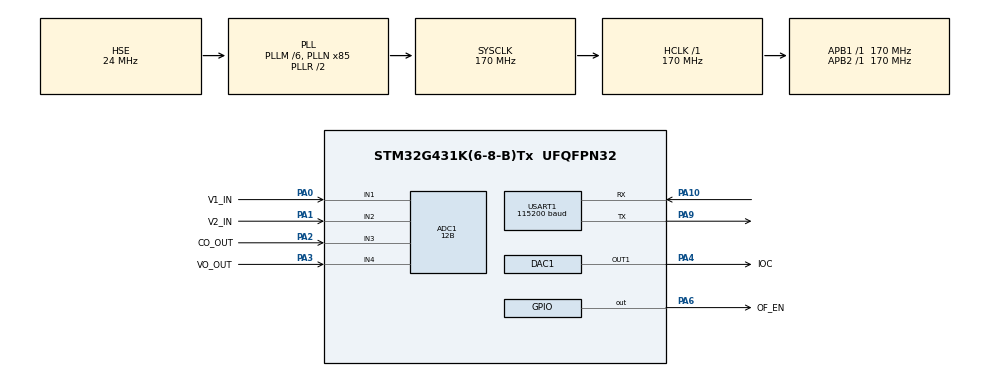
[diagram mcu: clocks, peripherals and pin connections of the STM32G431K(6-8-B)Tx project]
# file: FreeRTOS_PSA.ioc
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ADC1.Channel-0\#ChannelRegularConversion=ADC_CHANNEL_1
ADC1.Channel-1\#ChannelRegularConversion=ADC_CHANNEL_2
ADC1.Channel-2\#ChannelRegularConversion=ADC_CHANNEL_3
ADC1.Channel-3\#ChannelRegularConversion=ADC_CHANNEL_4
ADC1.Channel-4\#ChannelRegularConversion=ADC_CHANNEL_TEMPSENSOR_ADC1
ADC1.Channel-IN=ADC_CHANNEL_TEMPSENSOR_ADC1
ADC1.Channel-IN1=ADC_CHANNEL_1
ADC1.Channel-IN2=ADC_CHANNEL_2
ADC1.Channel-IN3=ADC_CHANNEL_3
ADC1.Channel-IN4=ADC_CHANNEL_4
ADC1.ClockPrescaler=ADC_CLOCK_ASYNC_DIV64
ADC1.ContinuousConvMode=ENABLE
ADC1.DMAContinuousRequests=ENABLE
ADC1.DataAlign=ADC_DATAALIGN_RIGHT
ADC1.DiscontinuousConvMode=DISABLE
ADC1.EOCSelection=ADC_EOC_SINGLE_CONV
ADC1.EnableAnalogWatchDog1=false
ADC1.EnableAnalogWatchDog2=false
ADC1.EnableAnalogWatchDog3=false
ADC1.EnableInjectedConversion=DISABLE
ADC1.EnableRegularConversion=ENABLE
ADC1.ExternalTrigConv=ADC_SOFTWARE_START
ADC1.ExternalTrigConvEdge=ADC_EXTERNALTRIGCONVEDGE_NONE
ADC1.GainCompensation=0
ADC1.LowPowerAutoWait=DISABLE
ADC1.Mode=ADC_MODE_INDEPENDENT
ADC1.NbrOfConversion=5
ADC1.OffsetNumber-0\#ChannelRegularConversion=ADC_OFFSET_NONE
ADC1.OffsetNumber-1\#ChannelRegularConversion=ADC_OFFSET_NONE
ADC1.OffsetNumber-2\#ChannelRegularConversion=ADC_OFFSET_NONE
ADC1.OffsetNumber-3\#ChannelRegularConversion=ADC_OFFSET_NONE
ADC1.OffsetNumber-4\#ChannelRegularConversion=ADC_OFFSET_NONE
ADC1.Overrun=ADC_OVR_DATA_PRESERVED
ADC1.OversamplingMode=DISABLE
ADC1.Rank-0\#ChannelRegularConversion=1
ADC1.Rank-1\#ChannelRegularConversion=2
ADC1.Rank-2\#ChannelRegularConversion=3
ADC1.Rank-3\#ChannelRegularConversion=4
ADC1.Rank-4\#ChannelRegularConversion=5
ADC1.Resolution=ADC_RESOLUTION_12B
ADC1.SamplingTime-0\#ChannelRegularConversion=ADC_SAMPLETIME_640CYCLES_5
ADC1.SamplingTime-1\#ChannelRegularConversion=ADC_SAMPLETIME_640CYCLES_5
ADC1.SamplingTime-2\#ChannelRegularConversion=ADC_SAMPLETIME_640CYCLES_5
ADC1.SamplingTime-3\#ChannelRegularConversion=ADC_SAMPLETIME_640CYCLES_5
ADC1.SamplingTime-4\#ChannelRegularConversion=ADC_SAMPLETIME_640CYCLES_5
ADC1.ScanConvMode=ADC_SCAN_ENABLE
ADC1.master=1
DAC1.DAC_Channel-DAC_OUT1=DAC_CHANNEL_1
DAC1.DAC_ConnectOnChipPeripheral_OUT1-DAC_OUT1=DAC_CHIPCONNECT_EXTERNAL
DAC1.DAC_HighFrequency_OUT1-DAC_OUT1=DAC_HIGH_FREQUENCY_INTERFACE_MODE_DISABLE
DAC1.DAC_OutputBuffer_OUT1-DAC_OUT1=DAC_OUTPUTBUFFER_ENABLE
DAC1.DAC_SampleAndHold_OUT1-DAC_OUT1=DAC_SAMPLEANDHOLD_DISABLE
DAC1.DAC_Trigger_OUT1-DAC_OUT1=DAC_TRIGGER_NONE
DAC1.DAC_DMADoubleDataMode_OUT1-DAC_OUT1=DISABLE
DAC1.DAC_SignedFormat_OUT1-DAC_OUT1=DISABLE
DAC1.DAC_Trigger2_OUT1-DAC_OUT1=DAC_TRIGGER_NONE
DAC1.DAC_UserTrimming_OUT1-DAC_OUT1=DAC_TRIMMING_FACTORY
Dma.ADC1.0.Direction=DMA_PERIPH_TO_MEMORY
Dma.ADC1.0.EventEnable=DISABLE
Dma.ADC1.0.Instance=DMA1_Channel3
Dma.ADC1.0.MemDataAlignment=DMA_MDATAALIGN_HALFWORD
Dma.ADC1.0.MemInc=DMA_MINC_ENABLE
Dma.ADC1.0.Mode=DMA_CIRCULAR
Dma.ADC1.0.PeriphDataAlignment=DMA_PDATAALIGN_HALFWORD
Dma.ADC1.0.PeriphInc=DMA_PINC_DISABLE
Dma.ADC1.0.Polarity=HAL_DMAMUX_REQ_GEN_RISING
Dma.ADC1.0.Priority=DMA_PRIORITY_LOW
Dma.ADC1.0.RequestNumber=1
Dma.ADC1.0.SignalID=NONE
Dma.ADC1.0.SyncEnable=DISABLE
Dma.ADC1.0.SyncPolarity=HAL_DMAMUX_SYNC_NO_EVENT
Dma.ADC1.0.SyncRequestNumber=1
Dma.ADC1.0.SyncSignalID=NONE
Dma.Request0=ADC1
Dma.Request1=USART1_RX
Dma.Request2=USART1_TX
Dma.USART1_RX.1.Direction=DMA_PERIPH_TO_MEMORY
Dma.USART1_RX.1.EventEnable=DISABLE
Dma.USART1_RX.1.Instance=DMA1_Channel1
Dma.USART1_RX.1.MemDataAlignment=DMA_MDATAALIGN_BYTE
Dma.USART1_RX.1.MemInc=DMA_MINC_ENABLE
Dma.USART1_RX.1.Mode=DMA_NORMAL
Dma.USART1_RX.1.PeriphDataAlignment=DMA_PDATAALIGN_BYTE
Dma.USART1_RX.1.PeriphInc=DMA_PINC_DISABLE
Dma.USART1_RX.1.Polarity=HAL_DMAMUX_REQ_GEN_RISING
Dma.USART1_RX.1.Priority=DMA_PRIORITY_LOW
Dma.USART1_RX.1.RequestNumber=1
Dma.USART1_RX.1.SignalID=NONE
Dma.USART1_RX.1.SyncEnable=DISABLE
Dma.USART1_RX.1.SyncPolarity=HAL_DMAMUX_SYNC_NO_EVENT
Dma.USART1_RX.1.SyncRequestNumber=1
Dma.USART1_RX.1.SyncSignalID=NONE
Dma.USART1_TX.2.Direction=DMA_MEMORY_TO_PERIPH
Dma.USART1_TX.2.EventEnable=DISABLE
Dma.USART1_TX.2.Instance=DMA1_Channel2
Dma.USART1_TX.2.MemDataAlignment=DMA_MDATAALIGN_BYTE
Dma.USART1_TX.2.MemInc=DMA_MINC_ENABLE
Dma.USART1_TX.2.Mode=DMA_NORMAL
Dma.USART1_TX.2.PeriphDataAlignment=DMA_PDATAALIGN_BYTE
Dma.USART1_TX.2.PeriphInc=DMA_PINC_DISABLE
Dma.USART1_TX.2.Polarity=HAL_DMAMUX_REQ_GEN_RISING
Dma.USART1_TX.2.Priority=DMA_PRIORITY_LOW
Dma.USART1_TX.2.RequestNumber=1
Dma.USART1_TX.2.SignalID=NONE
Dma.USART1_TX.2.SyncEnable=DISABLE
Dma.USART1_TX.2.SyncPolarity=HAL_DMAMUX_SYNC_NO_EVENT
Dma.USART1_TX.2.SyncRequestNumber=1
Dma.USART1_TX.2.SyncSignalID=NONE
FREERTOS.Tasks01=defaultTask,24,128,StartDefaultTask,Default,NULL,Dynamic,NULL,NULL
FREERTOS.configMAX_CO_ROUTINE_PRIORITIES=5
FREERTOS.configMAX_TASK_NAME_LEN=24
FREERTOS.configTIMER_TASK_PRIORITY=5
FREERTOS.configTOTAL_HEAP_SIZE=16384
Mcu.Family=STM32G4
Mcu.Name=STM32G431K(6-8-B)Tx
Mcu.Package=UFQFPN32
NVIC.ADC1_2_IRQn=true\:6\:0\:true\:false\:true\:true\:true\:true\:true
NVIC.DMA1_Channel1_IRQn=true\:5\:0\:false\:false\:true\:true\:false\:true\:true
NVIC.DMA1_Channel2_IRQn=true\:5\:0\:false\:false\:true\:true\:false\:true\:true
NVIC.DMA1_Channel3_IRQn=true\:5\:0\:false\:false\:true\:true\:false\:true\:true
NVIC.PriorityGroup=NVIC_PRIORITYGROUP_4
NVIC.TIM1_UP_TIM16_IRQn=true\:15\:0\:false\:false\:true\:false\:false\:true\:true
NVIC.TimeBase=TIM1_UP_TIM16_IRQn
NVIC.TimeBaseIP=TIM1
NVIC.USART1_IRQn=true\:5\:0\:false\:false\:true\:true\:true\:true\:true
PA0.GPIO_Label=V1_IN
PA0.Mode=IN1-Single-Ended
PA0.Signal=ADC1_IN1
PA1.GPIO_Label=V2_IN
PA1.Mode=IN2-Single-Ended
PA1.Signal=ADC1_IN2
PA10.Mode=Asynchronous
PA10.Signal=USART1_RX
PA13.Mode=Serial_Wire
PA13.Signal=SYS_JTMS-SWDIO
PA14.Mode=Serial_Wire
PA14.Signal=SYS_JTCK-SWCLK
PA2.GPIO_Label=CO_OUT
PA2.Mode=IN3-Single-Ended
PA2.Signal=ADC1_IN3
PA3.GPIO_Label=VO_OUT
PA3.Mode=IN4-Single-Ended
PA3.Signal=ADC1_IN4
PA4.GPIO_Label=IOC
PA4.Signal=COMP_DAC11_group
PA9.Mode=Asynchronous
PA9.Signal=USART1_TX
PA6.GPIO_Label=OF_EN
PA6.Signal=GPIO_Output
PF0-OSC_IN.Mode=HSE-External-Oscillator
PF0-OSC_IN.Signal=RCC_OSC_IN
PF1-OSC_OUT.Mode=HSE-External-Oscillator
PF1-OSC_OUT.Signal=RCC_OSC_OUT
ProjectManager.HeapSize=0x400
ProjectManager.StackSize=0x1000
ProjectManager.TargetToolchain=MDK-ARM V5.32
RCC.ADC12Freq_Value=170000000
RCC.AHBFreq_Value=170000000
RCC.APB1Freq_Value=170000000
RCC.APB1TimFreq_Value=170000000
RCC.APB2Freq_Value=170000000
RCC.APB2TimFreq_Value=170000000
RCC.CortexFreq_Value=170000000
RCC.EXTERNAL_CLOCK_VALUE=12288000
RCC.HCLKFreq_Value=170000000
RCC.HSE_VALUE=24000000
RCC.HSI48_VALUE=48000000
RCC.HSI_VALUE=16000000
RCC.LSE_VALUE=32768
RCC.PLLM=RCC_PLLM_DIV6
RCC.PLLN=85
RCC.PLLSourceVirtual=RCC_PLLSOURCE_HSE
RCC.SYSCLKFreq_VALUE=170000000
RCC.SYSCLKSource=RCC_SYSCLKSOURCE_PLLCLK
RCC.USBFreq_Value=170000000
RCC.VCOOutputFreq_Value=340000000
SH.COMP_DAC11_group.0=DAC1_OUT1,DAC_OUT1
USART1.BaudRate=115200
USART1.ClockPrescaler=PRESCALER_DIV1
USART1.DMADisableonRxErrorParam=ADVFEATURE_DMA_ENABLEONRXERROR
USART1.FIFOMode=FIFOMODE_DISABLE
USART1.Mode=MODE_TX_RX
USART1.OneBitSampling=UART_ONE_BIT_SAMPLE_DISABLE
USART1.OverSampling=UART_OVERSAMPLING_16
USART1.OverrunDisableParam=ADVFEATURE_OVERRUN_ENABLE
USART1.Parity=PARITY_NONE
USART1.RXFIFOThreshold=RXFIFO_THRESHOLD_1EIGHTHFULL
USART1.StopBits=STOPBITS_1
USART1.TXFIFOThreshold=TXFIFO_THRESHOLD_1EIGHTHFULL
USART1.VirtualMode-Asynchronous=VM_ASYNC
USART1.WordLength=WORDLENGTH_8B
VP_ADC1_TempSens_Input.Mode=IN-TempSens
VP_FREERTOS_VS_CMSIS_V2.Mode=CMSIS_V2
VP_SYS_VS_DBSignals.Mode=DisableDeadBatterySignals
VP_SYS_VS_tim1.Mode=TIM1
board=custom

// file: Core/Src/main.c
/* USER CODE BEGIN Header */
/**
  ******************************************************************************
  * @file           : main.c
  * @brief          : Main program body
  ******************************************************************************
  * @attention
  *
  * Copyright (c) 2026 STMicroelectronics.
  * All rights reserved.
  *
  * This software is licensed under terms that can be found in the LICENSE file
  * in the root directory of this software component.
  * If no LICENSE file comes with this software, it is provided AS-IS.
  *
  ******************************************************************************
  */
/* USER CODE END Header */
#include "main.h"
#include "cmsis_os.h"
#include "usart.h"
#include "gpio.h"

/* USER CODE BEGIN Includes */
#include <stdio.h>
#include "adc.h"
#include "dac.h"
/* USER CODE END Includes */

void SystemClock_Config(void);
void MX_FREERTOS_Init(void);

int main(void)
{

  /* MCU Configuration--------------------------------------------------------*/

  /* Reset of all peripherals, Initializes the Flash interface and the Systick. */
  HAL_Init();

  /* Configure the system clock */
  SystemClock_Config();

  /* Initialize all configured peripherals */
  MX_GPIO_Init();
  MX_USART1_UART_Init();
  /* USER CODE BEGIN 2 */

  /* 初始化 ADC1 外设及多通道扫描配置 */
  MX_ADC1_Init();
  MX_DAC1_Init();
  /* USER CODE END 2 */

  /* Init scheduler */
  osKernelInitialize();  /* Call init function for freertos objects (in cmsis_os2.c) */
  MX_FREERTOS_Init();

  /* Start scheduler */
  osKernelStart();

  /* We should never get here as control is now taken by the scheduler */

  /* Infinite loop */
  while (1)
  {

  }
}

void SystemClock_Config(void)
{
  RCC_OscInitTypeDef RCC_OscInitStruct = {0};
  RCC_ClkInitTypeDef RCC_ClkInitStruct = {0};

  /** Configure the main internal regulator output voltage
  */
  HAL_PWREx_ControlVoltageScaling(PWR_REGULATOR_VOLTAGE_SCALE1_BOOST);

  /** Initializes the RCC Oscillators according to the specified parameters
  * in the RCC_OscInitTypeDef structure.
  */
  RCC_OscInitStruct.OscillatorType = RCC_OSCILLATORTYPE_HSE;
  RCC_OscInitStruct.HSEState = RCC_HSE_ON;
  RCC_OscInitStruct.PLL.PLLState = RCC_PLL_ON;
  RCC_OscInitStruct.PLL.PLLSource = RCC_PLLSOURCE_HSE;
  RCC_OscInitStruct.PLL.PLLM = RCC_PLLM_DIV6;
  RCC_OscInitStruct.PLL.PLLN = 85;
  RCC_OscInitStruct.PLL.PLLP = RCC_PLLP_DIV2;
  RCC_OscInitStruct.PLL.PLLQ = RCC_PLLQ_DIV2;
  RCC_OscInitStruct.PLL.PLLR = RCC_PLLR_DIV2;
  if (HAL_RCC_OscConfig(&RCC_OscInitStruct) != HAL_OK)
  {
    Error_Handler();
  }

  /** Initializes the CPU, AHB and APB buses clocks
  */
  RCC_ClkInitStruct.ClockType = RCC_CLOCKTYPE_HCLK|RCC_CLOCKTYPE_SYSCLK
                              |RCC_CLOCKTYPE_PCLK1|RCC_CLOCKTYPE_PCLK2;
  RCC_ClkInitStruct.SYSCLKSource = RCC_SYSCLKSOURCE_PLLCLK;
  RCC_ClkInitStruct.AHBCLKDivider = RCC_SYSCLK_DIV1;
  RCC_ClkInitStruct.APB1CLKDivider = RCC_HCLK_DIV1;
  RCC_ClkInitStruct.APB2CLKDivider = RCC_HCLK_DIV1;

  if (HAL_RCC_ClockConfig(&RCC_ClkInitStruct, FLASH_LATENCY_4) != HAL_OK)
  {
    Error_Handler();
  }
}

/* USER CODE BEGIN 4 */
/* USER CODE BEGIN 4 */

/* USER CODE END 4 */

void HAL_TIM_PeriodElapsedCallback(TIM_HandleTypeDef *htim)
{
  if (htim->Instance == TIM1)
  {
    HAL_IncTick();
  }
}

void Error_Handler(void)
{
  __disable_irq();
  while (1)
  {
  }
}

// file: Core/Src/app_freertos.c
/* USER CODE BEGIN Header */
/**
  ******************************************************************************
  * File Name          : app_freertos.c
  * Description        : Code for freertos applications
  ******************************************************************************
  * @attention
  *
  * Copyright (c) 2026 STMicroelectronics.
  * All rights reserved.
  *
  * This software is licensed under terms that can be found in the LICENSE file
  * in the root directory of this software component.
  * If no LICENSE file comes with this software, it is provided AS-IS.
  *
  ******************************************************************************
  */
/* USER CODE END Header */

#include "FreeRTOS.h"
#include "task.h"
#include "main.h"
#include "cmsis_os.h"

/* USER CODE BEGIN Includes */
#include <stdio.h>
#include <string.h>
#include <stdlib.h>
#include <stdint.h>
#include "uart_dma_driver.h"
#include "adc_dma_driver.h"
#include "dac_control.h"
#include "output_control.h"
#include "output_protection.h"
#include "calc_control.h"
#include "gpio.h"
/* USER CODE END Includes */

/* USER CODE BEGIN PTD */
typedef enum {
    MSG_TYPE_MEASURE,
    MSG_TYPE_CALC,
    MSG_TYPE_STATE,
    MSG_TYPE_ECHO,
    MSG_TYPE_BOOT
} UartMsgType_t;

typedef struct {
    uint16_t len;
    uint8_t payload[128];
} UartMsg_t;
/* USER CODE END PTD */

/* USER CODE BEGIN PD */
#define UART_APP_MSG_MAX_LEN        128U
#define CALC_CONTROL_RESET_FLAG     0x00000001U
#define UART_BACKLOG_RETRY_MAX      20U
#define UART_BACKLOG_BACKOFF_MS     20U
#define VOC_RAMP_STEP_V             0.0025f
#define VOC_RAMP_INTERVAL_MS        5U
#define VOC_MAX_V                   2.5f
#define VOC_MIN_V                   0.0f

/* USER CODE END PD */

/* USER CODE BEGIN Variables */
/* 任务句柄和属性定义 */
osThreadId_t sampleFilterTaskHandle;
const osThreadAttr_t sampleFilterTask_attributes = {
  .name = "sampleFilterTask",
  .priority = (osPriority_t) osPriorityNormal,
  .stack_size = 512 * 4
};

osThreadId_t emergencyTaskHandle;
const osThreadAttr_t emergencyTask_attributes = {
  .name = "emergencyTask",
  .priority = (osPriority_t) osPriorityRealtime,
  .stack_size = 512 * 4
};

osThreadId_t calcControlTaskHandle;
const osThreadAttr_t calcControlTask_attributes = {
  .name = "calcControlTask",
  .priority = (osPriority_t) osPriorityNormal,
  .stack_size = 512 * 4
};

osThreadId_t uartTaskHandle;
const osThreadAttr_t uartTask_attributes = {
  .name = "uartTask",
  .priority = (osPriority_t) osPriorityAboveNormal,
  .stack_size = 512 * 4
};

/* 串口消息队列句柄 */
osMessageQueueId_t uartMsgQueueHandle;

/* --- UART DMA 驱动实例与双缓冲区声明 --- */
UartDma_Handler_t g_uart1_dma;

#define USART1_RX_DMA_BUF_SIZE  256U
#define USART1_RX_MAIN_BUF_SIZE 256U

static uint8_t g_usart1_rx_dma_buf[USART1_RX_DMA_BUF_SIZE];
static uint8_t g_usart1_rx_main_buf[USART1_RX_MAIN_BUF_SIZE];
static volatile uint8_t s_pause_state_ack_pending = 0U;
static volatile uint8_t s_resume_state_ack_pending = 0U;
static float s_voc_target_voltage_v = 0.0f;
static uint32_t s_voc_last_ramp_tick = 0U;

void StartSampleFilterTask(void *argument);
void StartEmergencyTask(void *argument);
void StartCalcControlTask(void *argument);
void StartUartTask(void *argument);

static void UartQueue_PostBytes(UartMsgType_t type, const uint8_t *data, uint16_t len);
static void PostCalcStateLine(const char *state_str);

/* 数据接收并回显解析回调 */
static void Usart1_RxParser_Callback(const uint8_t *data, uint16_t len)
{
    UartQueue_PostBytes(MSG_TYPE_ECHO, data, len);

    if (len > 0U)
    {
        char cmd_buf[64];
        uint16_t copy_len = (len < (sizeof(cmd_buf) - 1U)) ? len : (uint16_t)(sizeof(cmd_buf) - 1U);
        memcpy(cmd_buf, data, copy_len);
        cmd_buf[copy_len] = '\0';

        Output_Control_Status_t control_status = OUTPUT_CONTROL_OK;
        uint8_t controls_safe = (Measure_IsReady() && (Output_Protection_GetState() == OUTPUT_PROTECTION_NORMAL)) ? 1U : 0U;
        static const uint8_t rejected_msg[] = "\r\n[State] STATE:CONTROL_REJECTED\r\n";

        char *p_val = strstr(cmd_buf, "SetDAC:");
        if (p_val != NULL)
        {
            p_val += 7;
            char *endptr;
            float target_val = strtof(p_val, &endptr);
            if (p_val != endptr)
            {
                if (Calc_Control_IsClosedLoopActive() != 0U)
                {
                    UartQueue_PostBytes(MSG_TYPE_STATE, rejected_msg, (uint16_t)(sizeof(rejected_msg) - 1U));
                }
                else if (controls_safe != 0U)
                {
                    control_status = Output_Control_SetCurrent(target_val);
                    if (control_status != OUTPUT_CONTROL_OK)
                    {
                        UartQueue_PostBytes(MSG_TYPE_STATE, rejected_msg, (uint16_t)(sizeof(rejected_msg) - 1U));
                    }
                }
                else
                {
                    UartQueue_PostBytes(MSG_TYPE_STATE, rejected_msg, (uint16_t)(sizeof(rejected_msg) - 1U));
                }
            }
        }

        char *p_of = strstr(cmd_buf, "SetOF:");
        if (p_of != NULL)
        {
            p_of += 6;
            if (*p_of == '1')
            {
                if (controls_safe != 0U)
                {
                    control_status = Output_Control_Enable();
                    if (control_status != OUTPUT_CONTROL_OK)
                    {
                        UartQueue_PostBytes(MSG_TYPE_STATE, rejected_msg, (uint16_t)(sizeof(rejected_msg) - 1U));
                    }
                }
                else
                {
                    UartQueue_PostBytes(MSG_TYPE_STATE, rejected_msg, (uint16_t)(sizeof(rejected_msg) - 1U));
                }
            }
            else if (*p_of == '0')
            {
                Output_Control_Disable();
            }
        }

        char *p_reset = strstr(cmd_buf, "SystemReset");
        if (p_reset != NULL)
        {
            UartMsg_t reset_msg;
            int reset_len = snprintf((char*)reset_msg.payload, sizeof(reset_msg.payload),
                                     "\r\n[System] Resetting...\r\n");
            if ((reset_len > 0) && ((size_t)reset_len < sizeof(reset_msg.payload)))
            {
                reset_msg.len = (uint16_t)reset_len;
                UartQueue_PostBytes(MSG_TYPE_STATE, reset_msg.payload, reset_msg.len);
            }
            /* 延迟发送复位确认后再复位，确保消息发送完成 */
            for (volatile uint32_t i = 0U; i < 100000U; i++) { }
            NVIC_SystemReset();
        }

        /* 2A 稳定等待挂起调试命令 */
        char *p_pause2a = strstr(cmd_buf, "DebugPause2A");
        if (p_pause2a != NULL)
        {
            uint32_t tick = osKernelGetTickCount();
            if (Calc_Control_PauseWait2A(tick) != 0U)
            {
                static const uint8_t pause_ok_msg[] = "\r\n[State] STATE:WAIT_2A_PAUSED\r\n";
                s_pause_state_ack_pending = 1U;
                s_resume_state_ack_pending = 0U;
                UartQueue_PostBytes(MSG_TYPE_STATE, pause_ok_msg, (uint16_t)(sizeof(pause_ok_msg) - 1U));
            }
            else
            {
                static const uint8_t pause_fail_msg[] = "\r\n[State] STATE:PAUSE_FAILED\r\n";
                UartQueue_PostBytes(MSG_TYPE_STATE, pause_fail_msg, (uint16_t)(sizeof(pause_fail_msg) - 1U));
            }
        }

        char *p_resume2a = strstr(cmd_buf, "DebugResume2A");
        if (p_resume2a != NULL)
        {
            uint32_t tick = osKernelGetTickCount();
            if (Calc_Control_ResumeWait2A(tick) != 0U)
            {
                static const uint8_t resume_ok_msg[] = "\r\n[State] STATE:WAIT_2A_STABLE_10S\r\n";
                s_resume_state_ack_pending = 1U;
                s_pause_state_ack_pending = 0U;
                UartQueue_PostBytes(MSG_TYPE_STATE, resume_ok_msg, (uint16_t)(sizeof(resume_ok_msg) - 1U));
            }
            else
            {
                static const uint8_t resume_fail_msg[] = "\r\n[State] STATE:RESUME_FAILED\r\n";
                UartQueue_PostBytes(MSG_TYPE_STATE, resume_fail_msg, (uint16_t)(sizeof(resume_fail_msg) - 1U));
            }
        }
    }
}
/* USER CODE END Variables */

void MX_FREERTOS_Init(void); /* (MISRA C 2004 rule 8.1) */

void MX_FREERTOS_Init(void) {
  /* USER CODE BEGIN Init */
  Output_Control_Init();

  /* USER CODE END Init */

  /* USER CODE BEGIN RTOS_QUEUES */
  uartMsgQueueHandle = osMessageQueueNew(16, sizeof(UartMsg_t), NULL);
  /* USER CODE END RTOS_QUEUES */

  /* Create the thread(s) */
  sampleFilterTaskHandle = osThreadNew(StartSampleFilterTask, NULL, &sampleFilterTask_attributes);

  /* USER CODE BEGIN RTOS_THREADS */
  emergencyTaskHandle = osThreadNew(StartEmergencyTask, NULL, &emergencyTask_attributes);
  calcControlTaskHandle = osThreadNew(StartCalcControlTask, NULL, &calcControlTask_attributes);
  uartTaskHandle = osThreadNew(StartUartTask, NULL, &uartTask_attributes);
  /* USER CODE END RTOS_THREADS */

}

void StartSampleFilterTask(void *argument)
{
  /* USER CODE BEGIN StartSampleFilterTask */
  extern ADC_HandleTypeDef hadc1;

  static char measure_buf[128];
  static char code_buf[96];
  static uint32_t print_tick = 0;

  DAC_Control_Start(0U);
  DAC_Control_SetPfcCurrent(0.0f);
  DAC_Control_UpdatePfcTargetCurrent(0.0f);
  DAC_Control_StartVOC(0U);
  DAC_Control_SetVocVoltage(2.5f);   // 直接将其设为物理电压 2.5V

  HAL_StatusTypeDef init_res = Measure_Init(&hadc1);
  if (init_res != HAL_OK)
  {
      Error_Handler();
  }

  PW_Input_InitShadow();
  s_voc_target_voltage_v = 0.0f;
  s_voc_last_ramp_tick = 0U;

  for(;;)
  {
    uint32_t current_tick = osKernelGetTickCount();

    /* 高频采样与滑动平均滤波 */
    Measure_Update();

    if (Calc_Control_IsVocForceActive() != 0U)
    {
        s_voc_target_voltage_v = VOC_MAX_V;
        DAC_Control_SetVocVoltage(VOC_MAX_V);
        s_voc_last_ramp_tick = current_tick;
    }
    else if (Output_Protection_GetState() != OUTPUT_PROTECTION_NORMAL)
    {
        s_voc_target_voltage_v = VOC_MIN_V;
        DAC_Control_SetVocVoltage(VOC_MIN_V);
        s_voc_last_ramp_tick = current_tick;
    }
    else
    {
        Calc_Control_State_t voc_calc_state = Calc_Control_GetState();

        if (((voc_calc_state == CALC_CONTROL_WAIT_SAFE) ||
             (voc_calc_state == CALC_CONTROL_MONITOR)) &&
            ((current_tick - s_voc_last_ramp_tick) >= VOC_RAMP_INTERVAL_MS))
        {
            if (PW_Input_GetLevel() != 0U)
            {
                s_voc_target_voltage_v += VOC_RAMP_STEP_V;
            }
            else
            {
                s_voc_target_voltage_v -= VOC_RAMP_STEP_V;
            }

            if (s_voc_target_voltage_v > VOC_MAX_V)
            {
                s_voc_target_voltage_v = VOC_MAX_V;
            }
            else if (s_voc_target_voltage_v < VOC_MIN_V)
            {
                s_voc_target_voltage_v = VOC_MIN_V;
            }

            DAC_Control_SetVocVoltage(s_voc_target_voltage_v);
            s_voc_last_ramp_tick = current_tick;
        }
    }

    /* 每隔 1000ms 将数据投递到串口队列中发送 */
    if ((current_tick - print_tick) >= 1000U)
    {
        if (Measure_IsReady())
        {
            int measure_len = snprintf(measure_buf, sizeof(measure_buf),
                                       "\r\n[Measure] V1:%0.2fV V2:%0.2fV CO:%0.2fA VO:%0.2fV T:%0.1fC Vref:%0.3fV\r\n",
                                       Measure_GetV1In(),
                                       Measure_GetV2In(),
                                       Measure_GetCoOut(),
                                       Measure_GetVoOut(),
                                       Measure_GetTemp(),
                                       Measure_GetVref());

            if ((measure_len > 0) && ((size_t)measure_len < sizeof(measure_buf)))
            {
                UartQueue_PostBytes(MSG_TYPE_MEASURE, (const uint8_t*)measure_buf, (uint16_t)measure_len);
                print_tick = current_tick;

                int code_len = snprintf(code_buf, sizeof(code_buf),
                                        "[Code] 0:%u,1:%u,2:%u,3:%u,4:%u\r\n",
                                        (unsigned int)Measure_GetRawCode(0),
                                        (unsigned int)Measure_GetRawCode(1),
                                        (unsigned int)Measure_GetRawCode(2),
                                        (unsigned int)Measure_GetRawCode(3),
                                        (unsigned int)Measure_GetRawCode(4));

                if ((code_len > 0) && ((size_t)code_len < sizeof(code_buf)))
                {
                    UartQueue_PostBytes(MSG_TYPE_MEASURE, (const uint8_t*)code_buf, (uint16_t)code_len);
                }
            }
            else
            {
                print_tick = current_tick;
            }
        }
        else
        {
            print_tick = current_tick;
        }
    }

    osDelay(1);
  }
  /* USER CODE END StartSampleFilterTask */
}

/* USER CODE BEGIN Application */
void StartEmergencyTask(void *argument)
{
    Output_Protection_Input_t prot_in;
    Output_Protection_Output_t prot_out;
    Output_Protection_State_t last_state = OUTPUT_PROTECTION_NORMAL;
    uint8_t last_output_enabled = Output_Control_IsEnabled();

    Output_Protection_Init();

    for (;;)
    {
        uint32_t tick = osKernelGetTickCount();

        if (!Measure_IsReady())
        {
            Output_Control_Disable();
            osDelay(2);
            continue;
        }

        prot_in.temperature_c = Measure_GetTemp();
        prot_in.vo_out_v = Measure_GetVoOut();
        prot_in.co_out_a = Measure_GetCoOut();
        prot_in.tick_ms = tick;

        Output_Protection_Update(&prot_in, &prot_out);

        if (prot_out.disable_output)
        {
            Output_Control_Disable();
        }
        else if (prot_out.enable_output)
        {
            (void)Output_Control_Enable();
        }

        if (prot_out.reset_calc_control)
        {
            if (calcControlTaskHandle != NULL)
            {
                (void)osThreadFlagsSet(calcControlTaskHandle, CALC_CONTROL_RESET_FLAG);
            }
        }

        uint8_t current_output_enabled = Output_Control_IsEnabled();
        if (current_output_enabled != last_output_enabled)
        {
            last_output_enabled = current_output_enabled;

            UartMsg_t of_state_msg;
            const char *of_state_str = (current_output_enabled != 0U) ? "OF_ENABLED" : "OF_DISABLED";
            int of_state_len = snprintf((char*)of_state_msg.payload,
                                        sizeof(of_state_msg.payload),
                                        "\r\n[State] STATE:%s\r\n",
                                        of_state_str);
            if ((of_state_len > 0) && ((size_t)of_state_len < sizeof(of_state_msg.payload)))
            {
                of_state_msg.len = (uint16_t)of_state_len;
                UartQueue_PostBytes(MSG_TYPE_STATE, of_state_msg.payload, of_state_msg.len);
            }
        }

        Output_Protection_State_t current_state = Output_Protection_GetState();
        if (current_state != last_state)
        {
            last_state = current_state;

            const char* state_str = "UNKNOWN";
            if (current_state == OUTPUT_PROTECTION_NORMAL) state_str = "NORMAL";
            else if (current_state == OUTPUT_PROTECTION_TRIPPED) state_str = "TRIPPED";
            else if (current_state == OUTPUT_PROTECTION_RECOVERY_WAIT) state_str = "RECOVERY_WAIT";

            UartMsg_t state_msg;
            int state_len = snprintf((char*)state_msg.payload, sizeof(state_msg.payload), "\r\n[State] STATE:%s\r\n", state_str);
            if ((state_len > 0) && ((size_t)state_len < sizeof(state_msg.payload)))
            {
                state_msg.len = (uint16_t)state_len;
                UartQueue_PostBytes(MSG_TYPE_STATE, state_msg.payload, state_msg.len);
            }
        }

        osDelay(2);
    }
}

void StartCalcControlTask(void *argument)
{
    Calc_Control_Input_t calc_in;
    Calc_Control_Output_t calc_out;
    Calc_Control_State_t last_state = CALC_CONTROL_WAIT_SAFE;

    Calc_Control_Init();

    for (;;)
    {
        if (!Measure_IsReady())
        {
            osDelay(10);
            continue;
        }

        uint32_t reset_flags = osThreadFlagsClear(CALC_CONTROL_RESET_FLAG);
        uint8_t reset_request = 0U;
        if ((reset_flags & osFlagsError) != 0U)
        {
            /* osThreadFlagsClear 调用失败，不做处理 */
        }
        else if ((reset_flags & CALC_CONTROL_RESET_FLAG) != 0U)
        {
            reset_request = 1U;
        }

        calc_in.vo_out_v = Measure_GetVoOut();
        calc_in.co_out_a = Measure_GetCoOut();
        calc_in.tick_ms = osKernelGetTickCount();
        calc_in.safe_allowed = (Output_Protection_GetState() == OUTPUT_PROTECTION_NORMAL);
        calc_in.reset_request = reset_request;
        /* 交流线阻限功率输入：交流双通道采样 + 直流母线电压 */
        calc_in.vac_ch1_v = Measure_GetV1In();
        calc_in.vac_ch2_v = Measure_GetV2In();
        calc_in.vdc_sample_v = calc_in.vo_out_v;

        Calc_Control_Update(&calc_in, &calc_out);

        Calc_Control_State_t current_state = Calc_Control_GetState();
        uint8_t wait2a_paused = Calc_Control_IsWait2APaused();

        /* 开路检测错误上报 */
        if (calc_out.open_circuit_error)
        {
            UartMsg_t error_msg;
            int error_len = snprintf((char*)error_msg.payload, sizeof(error_msg.payload),
                                      "\r\n[Error] OPEN_CIRCUIT_DETECTED\r\n");
            if ((error_len > 0) && ((size_t)error_len < sizeof(error_msg.payload)))
            {
                error_msg.len = (uint16_t)error_len;
                UartQueue_PostBytes(MSG_TYPE_STATE, error_msg.payload, error_msg.len);
            }
        }

        /* 稳定判定过程上报 */
        if (calc_out.stable_update)
        {
            UartMsg_t stable_msg;
            int stable_len = snprintf((char*)stable_msg.payload, sizeof(stable_msg.payload),
                                       "\r\n[Stable] Count:%u/%u Delta:%0.1fmA Wait:%ums\r\n",
                                       calc_out.stable_count,
                                       calc_out.stable_target,
                                       calc_out.stable_delta_ma,
                                       (unsigned int)calc_out.stable_wait_ms);
            if ((stable_len > 0) && ((size_t)stable_len < sizeof(stable_msg.payload)))
            {
                stable_msg.len = (uint16_t)stable_len;
                UartQueue_PostBytes(MSG_TYPE_STATE, stable_msg.payload, stable_msg.len);
            }
        }

        if ((current_state == CALC_CONTROL_WAIT_3A_STABLE) &&
            (calc_out.change_current != 0U) &&
            (calc_out.set_current_a == 3.0f))
        {
            PostCalcStateLine("SET_3A");
        }
        else if ((current_state == CALC_CONTROL_WAIT_2A_STABLE) &&
                 (calc_out.change_current != 0U) &&
                 (calc_out.i1 > 0.0f))
        {
            PostCalcStateLine("LATCH_3A");
            PostCalcStateLine("SET_2A");
        }

        if (calc_out.publish_calc_report != 0U)
        {
            PostCalcStateLine("LATCH_2A");
            PostCalcStateLine("CALC_RESISTANCE");
        }

        if (calc_out.change_current)
        {
            Output_Control_Status_t control_status = Output_Control_SetCurrent(calc_out.set_current_a);
            if (control_status != OUTPUT_CONTROL_OK)
            {
                (void)osThreadFlagsSet(calcControlTaskHandle, CALC_CONTROL_RESET_FLAG);
            }
        }

        if (calc_out.publish_calc_report)
        {
            UartMsg_t report_msg;
            int report_len = snprintf((char*)report_msg.payload, sizeof(report_msg.payload),
                                      "\r\n[Calc] R:%0.3fR U1:%0.2fV I1:%0.2fA U2:%0.2fV I2:%0.2fA IOC:%0.2fA\r\n",
                                      calc_out.calculated_resistance,
                                      calc_out.u1, calc_out.i1,
                                      calc_out.u2, calc_out.i2,
                                      calc_out.ioc);
            if ((report_len > 0) && ((size_t)report_len < sizeof(report_msg.payload)))
            {
                report_msg.len = (uint16_t)report_len;
                UartQueue_PostBytes(MSG_TYPE_CALC, report_msg.payload, report_msg.len);
            }

            UartMsg_t debug_ioc_msg;
            int debug_ioc_len = snprintf((char*)debug_ioc_msg.payload, sizeof(debug_ioc_msg.payload),
                                         "\r\n[DebugIOC] dU:%0.2fV dI:%0.2fA Rraw:%0.3fR Vac:%0.2fV VoutAvg:%0.2fV Pin:%0.1fW Pout:%0.1fW IOC:%0.2fA\r\n",
                                         calc_out.du_v,
                                         calc_out.di_a,
                                         calc_out.r_raw_ohm,
                                         calc_out.vac_eff_v,
                                         calc_out.vout_avg_v,
                                         calc_out.pin_w,
                                         calc_out.pout_w,
                                         calc_out.ioc);
            if ((debug_ioc_len > 0) && ((size_t)debug_ioc_len < sizeof(debug_ioc_msg.payload)))
            {
                debug_ioc_msg.len = (uint16_t)debug_ioc_len;
                UartQueue_PostBytes(MSG_TYPE_CALC, debug_ioc_msg.payload, debug_ioc_msg.len);
            }

            /* 交流线阻限功率诊断帧：上报折算限值与 DAC 量化码 */
            UartMsg_t ll_msg;
            int ll_len = snprintf((char*)ll_msg.payload, sizeof(ll_msg.payload),
                                  "\r\n[LineLimit] Iac:%0.2fA Idc:%0.2fA DAC:%u Retest:%u\r\n",
                                  calc_out.iac_limit_a,
                                  calc_out.idc_limit_a,
                                  (unsigned int)calc_out.dac_code,
                                  (unsigned int)calc_out.need_retest);
            if ((ll_len > 0) && ((size_t)ll_len < sizeof(ll_msg.payload)))
            {
                ll_msg.len = (uint16_t)ll_len;
                UartQueue_PostBytes(MSG_TYPE_CALC, ll_msg.payload, ll_msg.len);
            }

            /* 安全链未通过时上报需要重测，便于上位机感知回退 */
            if (calc_out.need_retest)
            {
                UartMsg_t retest_msg;
                int retest_len = snprintf((char*)retest_msg.payload, sizeof(retest_msg.payload),
                                          "\r\n[State] STATE:NEED_RETEST\r\n");
                if ((retest_len > 0) && ((size_t)retest_len < sizeof(retest_msg.payload)))
                {
                    retest_msg.len = (uint16_t)retest_len;
                    UartQueue_PostBytes(MSG_TYPE_STATE, retest_msg.payload, retest_msg.len);
                }
            }
        }

        /* 如果处于 2A 等待挂起状态，通过虚拟状态映射上报 WAIT_2A_PAUSED */
        if ((current_state == CALC_CONTROL_WAIT_2A_STABLE) && (wait2a_paused != 0U))
        {
            if (last_state != 0xFEU)
            {
                last_state = 0xFEU;
                if (s_pause_state_ack_pending != 0U)
                {
                    s_pause_state_ack_pending = 0U;
                }
                else
                {
                    static const uint8_t paused_msg[] = "\r\n[State] STATE:WAIT_2A_PAUSED\r\n";
                    UartQueue_PostBytes(MSG_TYPE_STATE, paused_msg, (uint16_t)(sizeof(paused_msg) - 1U));
                }
            }
        }
        else if (current_state != last_state)
        {
            if ((current_state == CALC_CONTROL_WAIT_2A_STABLE) && (s_resume_state_ack_pending != 0U))
            {
                s_resume_state_ack_pending = 0U;
                continue;
            }

            last_state = current_state;

            const char* state_str = "WAIT_SAFE";
            switch (current_state)
            {
                case CALC_CONTROL_WAIT_SAFE: state_str = "WAIT_SAFE"; break;
                case CALC_CONTROL_SET_3A: state_str = "SET_3A"; break;
                case CALC_CONTROL_WAIT_3A_STABLE: state_str = "WAIT_3A_STABLE"; break;
                case CALC_CONTROL_LATCH_3A: state_str = "LATCH_3A"; break;
                case CALC_CONTROL_SET_2A: state_str = "SET_2A"; break;
                case CALC_CONTROL_WAIT_2A_STABLE: state_str = "WAIT_2A_STABLE_10S"; break;
                case CALC_CONTROL_LATCH_2A: state_str = "LATCH_2A"; break;
                case CALC_CONTROL_CALC_RESISTANCE: state_str = "CALC_RESISTANCE"; break;
                case CALC_CONTROL_MONITOR: state_str = "MONITOR"; break;
            }

            PostCalcStateLine(state_str);
        }

        osDelay(10);
    }
}

void StartUartTask(void *argument)
{
  extern UART_HandleTypeDef huart1;

  static UartMsg_t s_backlog_msg;
  static uint8_t s_backlog_valid = 0U;
  static uint8_t s_backlog_retry_count = 0U;

  if (UartDma_Init(&g_uart1_dma,
                   &huart1,
                   g_usart1_rx_dma_buf,
                   USART1_RX_DMA_BUF_SIZE,
                   g_usart1_rx_main_buf,
                   USART1_RX_MAIN_BUF_SIZE) != HAL_OK)
  {
      Error_Handler();
  }

  char task2_msg[] = "\r\n[Task 2] UART DMA NonBlocking Running!\r\n";
  UartQueue_PostBytes(MSG_TYPE_BOOT, (const uint8_t*)task2_msg, (uint16_t)(sizeof(task2_msg) - 1U));

  for(;;)
  {
    UartDma_Poll(&g_uart1_dma, Usart1_RxParser_Callback);

    uint8_t has_msg = 0U;

    if (s_backlog_valid != 0U)
    {
        has_msg = 1U;
    }
    else
    {
        if (osMessageQueueGet(uartMsgQueueHandle, &s_backlog_msg, NULL, 0U) == osOK)
        {
            s_backlog_valid = 1U;
            s_backlog_retry_count = 0U;
            has_msg = 1U;
        }
    }

    if (has_msg != 0U)
    {
        if (UartDma_Transmit_NonBlocking(&g_uart1_dma, s_backlog_msg.payload, s_backlog_msg.len) == HAL_OK)
        {
            s_backlog_valid = 0U;
            s_backlog_retry_count = 0U;
        }
        else
        {
            s_backlog_retry_count++;
            if (s_backlog_retry_count >= UART_BACKLOG_RETRY_MAX)
            {
                s_backlog_valid = 0U;
                s_backlog_retry_count = 0U;
            }
            else
            {
                osDelay(UART_BACKLOG_BACKOFF_MS);
            }
        }
    }

    osDelay(5);
  }
}

static void UartQueue_PostBytes(UartMsgType_t type, const uint8_t *data, uint16_t len)
{
    if ((uartMsgQueueHandle == NULL) || (data == NULL) || (len == 0U))
    {
        return;
    }

    UartMsg_t msg;
    msg.len = (len > UART_APP_MSG_MAX_LEN) ? UART_APP_MSG_MAX_LEN : len;
    memcpy(msg.payload, data, msg.len);

    osStatus_t put_status = osMessageQueuePut(uartMsgQueueHandle, &msg, 0U, 0U);
    if (put_status != osOK)
    {
        if (type == MSG_TYPE_STATE)
        {
            UartMsg_t dropped_msg;
            if (osMessageQueueGet(uartMsgQueueHandle, &dropped_msg, NULL, 0U) == osOK)
            {
                (void)osMessageQueuePut(uartMsgQueueHandle, &msg, 0U, 0U);
            }
        }
    }
}

static void PostCalcStateLine(const char *state_str)
{
    UartMsg_t state_msg;
    int state_len;

    if (state_str == NULL)
    {
        return;
    }

    state_len = snprintf((char*)state_msg.payload, sizeof(state_msg.payload),
                         "\r\n[State] STATE:%s\r\n", state_str);
    if ((state_len > 0) && ((size_t)state_len < sizeof(state_msg.payload)))
    {
        state_msg.len = (uint16_t)state_len;
        UartQueue_PostBytes(MSG_TYPE_STATE, state_msg.payload, state_msg.len);
    }
}

void vApplicationStackOverflowHook(TaskHandle_t xTask, char *pcTaskName)
{
    (void)xTask;
    (void)pcTaskName;

    portDISABLE_INTERRUPTS();
    OF_EN_GPIO_Port->BSRR = (uint32_t)OF_EN_Pin;
    DAC1->DHR12R1 = 0U;
    for (;;)
    {
    }
}
/* USER CODE END Application */
